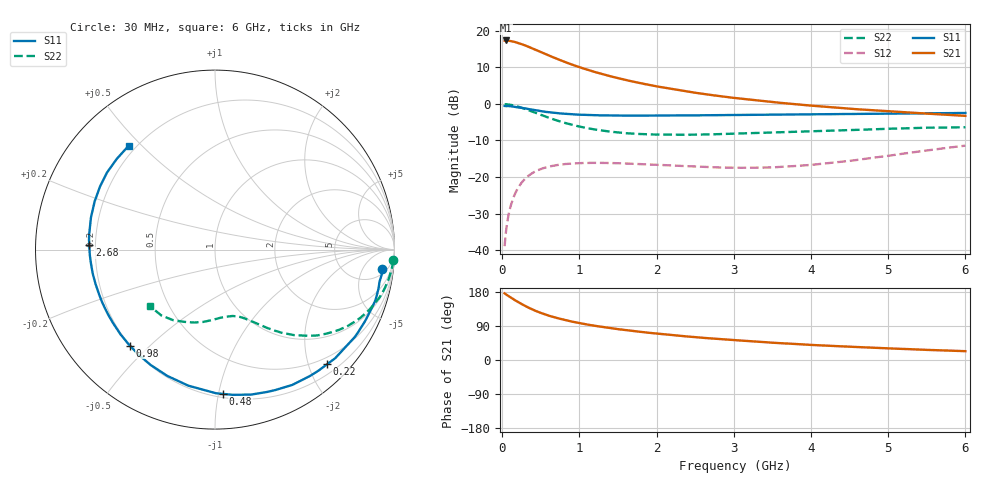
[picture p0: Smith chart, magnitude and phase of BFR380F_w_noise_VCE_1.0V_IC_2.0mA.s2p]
! Infineon Technologies  Discrete & RF Semiconductors
! BFR380F
! VCE =  1.0 V,  IC =  2.0 mA
! Common Emitter S-Parameters:  Nov 2015
# GHz  S  MA  R  50
!  f  S11  S21  S12  S22
! GHz  MAG  ANG  MAG  ANG  MAG  ANG  MAG  ANG
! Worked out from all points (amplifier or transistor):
!   206 points, 30 MHz to 6 GHz, reference 50 ohm
!   highest |S21| = 17.4 dB at 50 MHz (marker M1)
!   |S21| within 3 dB of that: start of sweep to 481.6 MHz
!   unconditionally stable (mu >= 1): 2.627 GHz to end of sweep
!   at 200 MHz: K = 0.07, MSG = 19.9 dB, |S12| = -23.1 dB
!   at 1.56 GHz: K = 0.59, MSG = 11.5 dB, |S12| = -16.3 dB
!   at 6 GHz: K = 1.00, MAG = 3.7 dB, |S12| = -11.4 dB
!   lowest NFmin = 0.77 dB at 450 MHz
!   S11 on the Smith chart (normalised r, x): 30 MHz: 7, -13; 220 MHz: 0.37, -2.32; 480 MHz: 0.23, -1.03; 980 MHz: 0.20, -0.44; 2.68 GHz: 0.18, +0.02; 6 GHz: 0.17, +0.46
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0.03  0.9392 -6.5  7.353 175.8  0.0113 86.7  0.9943 -3.4
0.05  0.9338 -11.1  7.402 172.5  0.0188 84.0  0.9915 -5.7
0.08  0.9374 -17.4  7.355 169.0  0.0299 80.5  0.9834 -9.0
0.15  0.9184 -32.1  7.127 159.6  0.0542 72.4  0.9529 -16.5
0.22  0.8932 -45.7  6.758 151.1  0.0753 64.8  0.9081 -23.2
0.3  0.8681 -60.3  6.319 142.1  0.0957 57.5  0.8509 -30.2
0.34  0.8515 -66.8  6.061 138.1  0.1041 54.1  0.8208 -33.1
0.4  0.8325 -76.0  5.71 132.4  0.1149 49.6  0.7758 -37.2
0.48  0.8051 -86.9  5.249 125.7  0.1264 44.4  0.7208 -41.7
0.6  0.7726 -101.1  4.62 117.1  0.1388 38.0  0.6483 -47.3
0.7  0.752 -110.8  4.178 111.2  0.1454 33.8  0.5969 -51.1
0.82  0.7325 -120.6  3.728 105.1  0.1506 29.7  0.5472 -54.6
0.98  0.7145 -131.5  3.24 98.2  0.1545 25.7  0.4959 -58.5
1.04  0.71 -134.9  3.088 95.9  0.1553 24.5  0.4807 -59.8
1.2  0.7013 -143.2  2.737 90.2  0.1563 21.9  0.4468 -63.1
1.4  0.695 -151.5  2.393 84.1  0.1554 19.6  0.4175 -66.7
2.02  0.6942 -169.4  1.726 69.3  0.1469 18.1  0.381 -76.8
2.68  0.7009 177.9  1.338 57.3  0.1365 23.0  0.3831 -87.1
3.1  0.7067 171.5  1.18 51.2  0.1337 29.2  0.3947 -93.4
4.1  0.7232 156.7  0.931 38.9  0.1501 46.8  0.4253 -107.5
5.1  0.7394 143.0  0.783 29.9  0.2021 57.7  0.4601 -122.7
6  0.7524 129.7  0.687 23.3  0.2686 58.6  0.4804 -139.0
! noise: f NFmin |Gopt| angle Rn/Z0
0.45  0.77  0.52  39  0.21
0.9  0.9  0.48  80  0.18
1.8  1.47  0.5  138  0.12
1.9  1.65  0.52  142  0.12
2.4  1.96  0.53  160  0.1
3.5  2.86  0.58  -170  0.13
